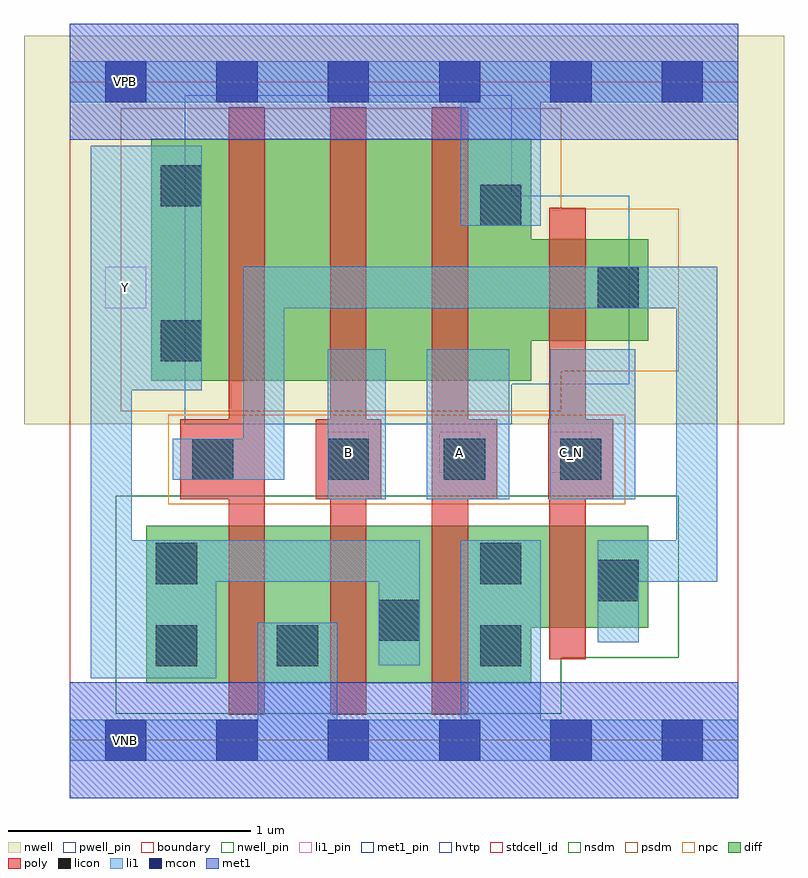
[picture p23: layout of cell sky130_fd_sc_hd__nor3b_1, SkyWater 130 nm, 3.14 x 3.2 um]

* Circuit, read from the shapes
.subckt sky130_fd_sc_hd__nor3b_1 A B C_N VGND VNB VPB VPWR Y
XM1 VGND n1 Y VNB sky130_fd_pr__nfet_01v8 w=0.65 l=0.15
XM2 Y B VGND VNB sky130_fd_pr__nfet_01v8 w=0.65 l=0.15
XM3 VGND A Y VNB sky130_fd_pr__nfet_01v8 w=0.65 l=0.15
XM4 n1 C_N VGND VNB sky130_fd_pr__nfet_01v8 w=0.42 l=0.15
XM5 n2 n1 Y VPB sky130_fd_pr__pfet_01v8_hvt w=1 l=0.15
XM6 n3 B n2 VPB sky130_fd_pr__pfet_01v8_hvt w=1 l=0.15
XM7 VPWR A n3 VPB sky130_fd_pr__pfet_01v8_hvt w=1 l=0.15
XM8 n1 C_N VPWR VPB sky130_fd_pr__pfet_01v8_hvt w=0.42 l=0.15
.ends

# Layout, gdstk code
import gdstk
lib = gdstk.Library(unit=1e-6, precision=1e-09)
def R(c, l, rs):  # rectangles x0, y0, x1, y1
    for r in rs: c.add(gdstk.rectangle(r[:2], r[2:], *l))
def A(c, l, x, y, w, h, nx, ny, dx, dy):  # array of equal rectangles
    R(c, l, [(x+i*dx, y+j*dy, x+i*dx+w, y+j*dy+h) for i in range(nx) for j in range(ny)])
nwell_pin = (64, 16)
nwell = (64, 20)
diff = (65, 20)
poly = (66, 20)
licon = (66, 44)
li1_pin = (67, 16)
li1 = (67, 20)
mcon = (67, 44)
met1_pin = (68, 16)
met1 = (68, 20)
hvtp = (78, 44)
stdcell_id = (81, 4)
nsdm = (93, 44)
psdm = (94, 20)
npc = (95, 20)
pwell_pin = (122, 16)
boundary = (235, 4)

sky130_fd_sc_hd__nor3b_1 = lib.new_cell('sky130_fd_sc_hd__nor3b_1')
R(sky130_fd_sc_hd__nor3b_1, nwell_pin, [(0.145,2.635,0.315,2.805)])
R(sky130_fd_sc_hd__nor3b_1, nwell, [(-0.19,1.305,2.95,2.91)])
R(sky130_fd_sc_hd__nor3b_1, diff, [(0.315,0.235,1.905,0.465), (0.315,0.465,2.39,0.885), (0.335,1.485,1.905,1.65), (0.335,1.65,2.39,2.07), (0.335,2.07,1.905,2.485)])
A(sky130_fd_sc_hd__nor3b_1, poly, 0.655, 0.105, 0.15, 0.89, 3, 1, 0.42, 0)
A(sky130_fd_sc_hd__nor3b_1, poly, 1.015, 0.995, 0.27, 0.33, 3, 1, 0.48, 0)
A(sky130_fd_sc_hd__nor3b_1, poly, 0.655, 1.325, 0.15, 1.29, 3, 1, 0.42, 0)
R(sky130_fd_sc_hd__nor3b_1, poly, [(1.98,0.335,2.13,0.995), (0.455,0.995,0.805,1.325), (1.98,1.325,2.13,2.2)])
A(sky130_fd_sc_hd__nor3b_1, licon, 1.065, 1.075, 0.17, 0.17, 3, 1, 0.48, 0)
R(sky130_fd_sc_hd__nor3b_1, licon, [(0.355,0.305,0.525,0.475), (0.855,0.305,1.025,0.475), (1.695,0.305,1.865,0.475), (1.275,0.41,1.445,0.58), (2.18,0.575,2.35,0.745), (0.355,0.645,0.525,0.815), (1.695,0.645,1.865,0.815), (0.505,1.075,0.675,1.245), (0.375,1.565,0.545,1.735), (2.18,1.785,2.35,1.955), (1.695,2.125,1.865,2.295), (0.375,2.205,0.545,2.375)])
A(sky130_fd_sc_hd__nor3b_1, li1_pin, 1.065, 1.105, 0.17, 0.17, 3, 1, 0.46, 0)
R(sky130_fd_sc_hd__nor3b_1, li1_pin, [(0.145,1.785,0.315,1.955)])
R(sky130_fd_sc_hd__nor3b_1, li1, [(0,-0.085,2.76,0.085), (0.775,0.085,1.105,0.485), (1.615,0.085,1.945,0.825), (0.085,0.255,0.605,0.655), (1.275,0.31,1.445,0.655), (2.18,0.405,2.35,0.655), (0.085,0.655,1.445,0.825), (2.18,0.655,2.675,0.825), (0.085,0.825,0.255,1.445), (2.505,0.825,2.675,1.785), (1.065,0.995,1.305,1.615), (1.475,0.995,1.815,1.615), (1.985,0.995,2.335,1.615), (0.425,1.075,0.885,1.245), (0.715,1.245,0.885,1.785), (0.085,1.445,0.545,2.455), (0.715,1.785,2.675,1.955), (1.615,2.125,1.945,2.635), (0,2.635,2.76,2.805)])
A(sky130_fd_sc_hd__nor3b_1, mcon, 0.145, -0.085, 0.17, 0.17, 6, 2, 0.46, 2.72)
R(sky130_fd_sc_hd__nor3b_1, met1_pin, [(0.145,-0.085,0.315,0.085), (0.145,2.635,0.315,2.805)])
R(sky130_fd_sc_hd__nor3b_1, met1, [(0,-0.24,2.76,0.24), (0,2.48,2.76,2.96)])
R(sky130_fd_sc_hd__nor3b_1, hvtp, [(0.475,1.305,1.825,1.47), (0.475,1.47,2.31,2.25), (0.475,2.25,1.825,2.665)])
R(sky130_fd_sc_hd__nor3b_1, stdcell_id, [(0,0,2.76,2.72)])
R(sky130_fd_sc_hd__nor3b_1, nsdm, [(0.19,0.11,2.03,0.34), (0.19,0.34,2.515,1.01)])
R(sky130_fd_sc_hd__nor3b_1, psdm, [(0.21,1.36,2.03,1.525), (0.21,1.525,2.515,2.195), (0.21,2.195,2.03,2.61)])
R(sky130_fd_sc_hd__nor3b_1, npc, [(0.405,0.975,2.295,1.345)])
R(sky130_fd_sc_hd__nor3b_1, pwell_pin, [(0.145,-0.085,0.315,0.085)])
R(sky130_fd_sc_hd__nor3b_1, boundary, [(0,0,2.76,2.72)])
sky130_fd_sc_hd__nor3b_1.add(gdstk.Label('VPB', (0.23,2.72), layer=64, texttype=5))
sky130_fd_sc_hd__nor3b_1.add(gdstk.Label('VNB', (0.23,0), layer=64, texttype=59))
sky130_fd_sc_hd__nor3b_1.add(gdstk.Label('VGND', (0.23,0), layer=68, texttype=5))
sky130_fd_sc_hd__nor3b_1.add(gdstk.Label('VPWR', (0.23,2.72), layer=68, texttype=5))
sky130_fd_sc_hd__nor3b_1.add(gdstk.Label('C_N', (2.07,1.19), layer=67, texttype=5))
sky130_fd_sc_hd__nor3b_1.add(gdstk.Label('B', (1.15,1.19), layer=67, texttype=5))
sky130_fd_sc_hd__nor3b_1.add(gdstk.Label('Y', (0.23,1.87), layer=67, texttype=5))
sky130_fd_sc_hd__nor3b_1.add(gdstk.Label('A', (1.61,1.19), layer=67, texttype=5))

lib.write_gds('sky130_fd_sc_hd__nor3b_1.gds')
